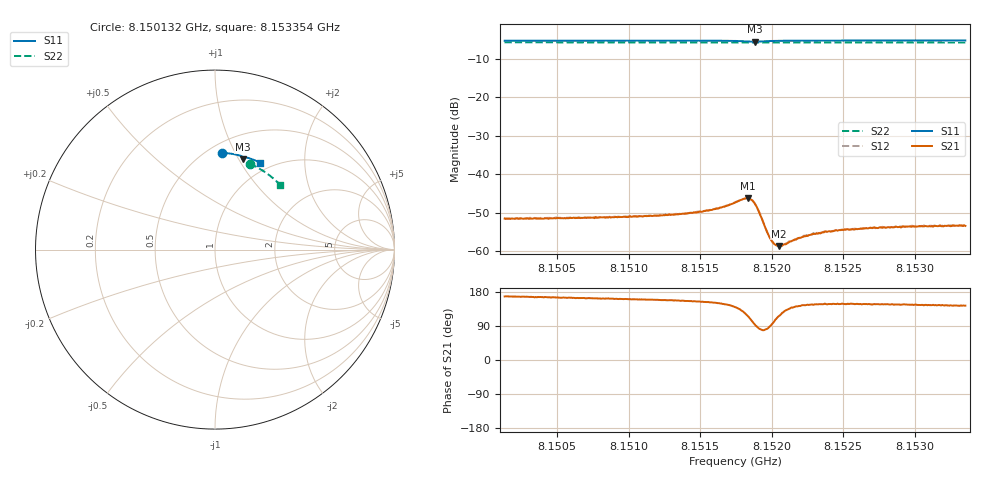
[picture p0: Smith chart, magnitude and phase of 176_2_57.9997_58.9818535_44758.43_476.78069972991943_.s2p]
#  HZ  S  RI  R  50.00
! Rohde & Schwarz Vector Network Analyzer
! Rohde-Schwarz,ZNB20-2Port,1311601062101988,3.16
! Created: UTC 3/21/2024, 12:58:08 AM
! freq[Hz]  re:S11  im:S11  re:S21  im:S21  re:S12  im:S12  re:S22  im:S22
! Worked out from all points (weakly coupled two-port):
!   401 points, 8.150132 GHz to 8.153354 GHz, reference 50 ohm
!   highest |S21| = -46.17 dB at 8.151832 GHz (marker M1); lowest = -58.6 dB at 8.152049 GHz (marker M2)
!   lowest |S11| = -5.6 dB at 8.15188 GHz (marker M3), VSWR 3.22, Z = 37.3 + j51.8 ohm
!   |S11| at or under -10 dB: nowhere
!   |S22| runs from -5.8 to -5.8 dB; largest |S21 - S12| = 0.00013
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8.1501317e9  0.0405 0.5391  -0.00261 0.000569  -0.00261 0.000607  0.1946 0.4775
8.1506715e9  0.0784 0.5359  -0.00262 0.000783  -0.00265 0.000836  0.2262 0.4627
8.1512113e9  0.1163 0.5296  -0.00271 0.00107  -0.00271 0.00111  0.2567 0.4457
8.1514046e9  0.1304 0.5264  -0.00283 0.00127  -0.00282 0.00133  0.2671 0.4394
8.1515416e9  0.1406 0.5235  -0.00302 0.00155  -0.00299 0.00162  0.2746 0.4343
8.1516383e9  0.1483 0.5204  -0.00319 0.00189  -0.00316 0.00195  0.2798 0.4307
8.151743e9  0.1568 0.5146  -0.00328 0.00279  -0.00328 0.00286  0.2854 0.4269
8.1518316e9  0.159 0.5045  -0.00218 0.0044  -0.00208 0.00447  0.2897 0.4235
8.1518558e9  0.1564 0.5024  -0.00126 0.00454  -0.00122 0.00462  0.2908 0.4223
8.15188e9  0.1533 0.5027  -0.000312 0.00421  -0.000273 0.00424  0.2918 0.4216
8.1519041e9  0.1513 0.5053  0.000295 0.00347  0.000362 0.0035  0.293 0.4209
8.1519686e9  0.1543 0.5123  0.000237 0.00175  0.000273 0.00175  0.2964 0.4188
8.1519928e9  0.1567 0.5137  -1.84e-05 0.00144  7.58e-06 0.00144  0.2976 0.4178
8.1520169e9  0.1592 0.5144  -0.000252 0.00123  -0.000236 0.00126  0.299 0.4171
8.1520492e9  0.1626 0.5149  -0.000509 0.00106  -0.000496 0.00106  0.3009 0.4158
8.1520894e9  0.1663 0.5149  -0.000784 0.000961  -0.000774 0.000974  0.3028 0.4143
8.1522264e9  0.1778 0.5129  -0.00128 0.000908  -0.00127 0.000985  0.3098 0.4088
8.1522828e9  0.1819 0.5117  -0.0014 0.000926  -0.00136 0.000941  0.3127 0.4067
8.1523795e9  0.189 0.5096  -0.00153 0.000972  -0.00152 0.00102  0.3176 0.4028
8.1525164e9  0.1986 0.5066  -0.00161 0.00104  -0.00164 0.00105  0.3243 0.3971
8.1528226e9  0.2189 0.4987  -0.00171 0.00113  -0.00173 0.00115  0.339 0.3843
8.1533543e9  0.2529 0.4833  -0.00172 0.00128  -0.00174 0.00133  0.3631 0.3604
